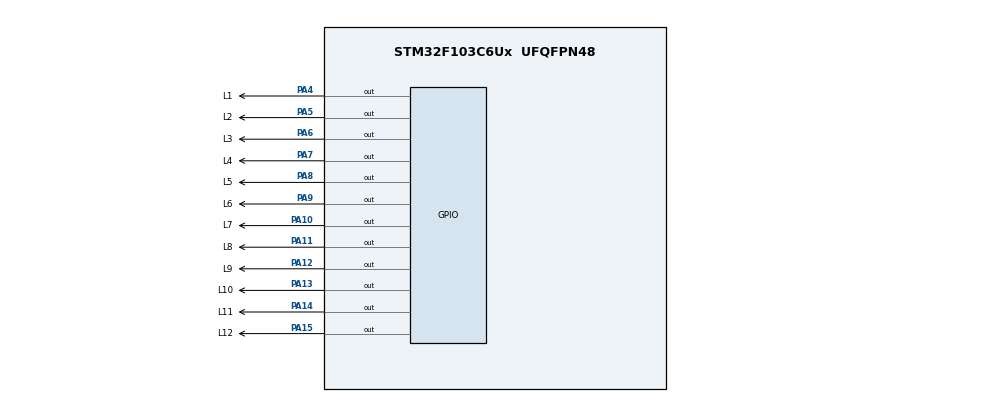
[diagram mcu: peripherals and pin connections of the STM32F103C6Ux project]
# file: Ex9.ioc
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Mcu.Family=STM32F1
Mcu.Name=STM32F103C6Ux
Mcu.Package=UFQFPN48
NVIC.PriorityGroup=NVIC_PRIORITYGROUP_4
PA10.GPIO_Label=L7
PA10.Signal=GPIO_Output
PA11.GPIO_Label=L8
PA11.Signal=GPIO_Output
PA12.GPIO_Label=L9
PA12.Signal=GPIO_Output
PA13.GPIO_Label=L10
PA13.Signal=GPIO_Output
PA14.GPIO_Label=L11
PA14.Signal=GPIO_Output
PA15.GPIO_Label=L12
PA15.Signal=GPIO_Output
PA4.GPIO_Label=L1
PA4.Signal=GPIO_Output
PA5.GPIO_Label=L2
PA5.Signal=GPIO_Output
PA6.GPIO_Label=L3
PA6.Signal=GPIO_Output
PA7.GPIO_Label=L4
PA7.Signal=GPIO_Output
PA8.GPIO_Label=L5
PA8.Signal=GPIO_Output
PA9.GPIO_Label=L6
PA9.Signal=GPIO_Output
ProjectManager.HeapSize=0x200
ProjectManager.StackSize=0x400
ProjectManager.TargetToolchain=STM32CubeIDE
RCC.APB1Freq_Value=8000000
RCC.APB2Freq_Value=8000000
board=custom

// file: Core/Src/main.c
/* USER CODE BEGIN Header */
/**
  ******************************************************************************
  * @file           : main.c
  * @brief          : Main program body
  ******************************************************************************
  * @attention
  *
  * Copyright (c) 2024 STMicroelectronics.
  * All rights reserved.
  *
  * This software is licensed under terms that can be found in the LICENSE file
  * in the root directory of this software component.
  * If no LICENSE file comes with this software, it is provided AS-IS.
  *
  ******************************************************************************
  */
/* USER CODE END Header */
#include "main.h"

void SystemClock_Config(void);
static void MX_GPIO_Init(void);
void clearAllClock() ;
void setNumberOnBlock(int num);
void clearNumberOnBlock(int num);

int main(void)
{

  /* MCU Configuration--------------------------------------------------------*/

  /* Reset of all peripherals, Initializes the Flash interface and the Systick. */
  HAL_Init();

  /* Configure the system clock */
  SystemClock_Config();

  /* Initialize all configured peripherals */
  MX_GPIO_Init();

  /* Infinite loop */
  /* USER CODE BEGIN WHILE */
  clearAllClock();
  setNumberOnBlock(1);
  setNumberOnBlock(2);
  setNumberOnBlock(3);
  setNumberOnBlock(4);
  setNumberOnBlock(5);
  setNumberOnBlock(6);
  setNumberOnBlock(7);
  setNumberOnBlock(8);
  setNumberOnBlock(9);
  setNumberOnBlock(10);
  setNumberOnBlock(11);
  setNumberOnBlock(12);
  clearNumberOnBlock(1);
  clearNumberOnBlock(2);
  clearNumberOnBlock(3);
  clearNumberOnBlock(4);
  clearNumberOnBlock(5);
  clearNumberOnBlock(6);
  clearNumberOnBlock(7);
  clearNumberOnBlock(8);
  clearNumberOnBlock(9);
  clearNumberOnBlock(10);
  clearNumberOnBlock(11);
  clearNumberOnBlock(12);
  HAL_Delay(1000);
  while (1)
  {
    /* USER CODE END WHILE */
	  HAL_GPIO_TogglePin(L1_GPIO_Port, L1_Pin);
	  HAL_Delay(1000);
	  HAL_GPIO_TogglePin(L2_GPIO_Port, L2_Pin);
	  HAL_Delay(1000);
	  HAL_GPIO_TogglePin(L3_GPIO_Port, L3_Pin);
	  HAL_Delay(1000);
	  HAL_GPIO_TogglePin(L4_GPIO_Port, L4_Pin);
	  HAL_Delay(1000);
	  HAL_GPIO_TogglePin(L5_GPIO_Port, L5_Pin);
	  HAL_Delay(1000);
	  HAL_GPIO_TogglePin(L6_GPIO_Port, L6_Pin);
	  HAL_Delay(1000);
	  HAL_GPIO_TogglePin(L7_GPIO_Port, L7_Pin);
	  HAL_Delay(1000);
	  HAL_GPIO_TogglePin(L8_GPIO_Port, L8_Pin);
	  HAL_Delay(1000);
	  HAL_GPIO_TogglePin(L9_GPIO_Port, L9_Pin);
	  HAL_Delay(1000);
	  HAL_GPIO_TogglePin(L10_GPIO_Port, L10_Pin);
	  HAL_Delay(1000);
	  HAL_GPIO_TogglePin(L11_GPIO_Port, L11_Pin);
	  HAL_Delay(1000);
	  HAL_GPIO_TogglePin(L12_GPIO_Port, L12_Pin);
	  HAL_Delay(1000);
  }
}
void clearAllClock()
{
    HAL_GPIO_WritePin(L1_GPIO_Port, L1_Pin, GPIO_PIN_SET);
    HAL_GPIO_WritePin(L2_GPIO_Port, L2_Pin, GPIO_PIN_SET);
    HAL_GPIO_WritePin(L3_GPIO_Port, L3_Pin, GPIO_PIN_SET);
    HAL_GPIO_WritePin(L4_GPIO_Port, L4_Pin, GPIO_PIN_SET);
    HAL_GPIO_WritePin(L5_GPIO_Port, L5_Pin, GPIO_PIN_SET);
    HAL_GPIO_WritePin(L6_GPIO_Port, L6_Pin, GPIO_PIN_SET);
    HAL_GPIO_WritePin(L7_GPIO_Port, L7_Pin, GPIO_PIN_SET);
    HAL_GPIO_WritePin(L8_GPIO_Port, L8_Pin, GPIO_PIN_SET);
    HAL_GPIO_WritePin(L9_GPIO_Port, L9_Pin, GPIO_PIN_SET);
    HAL_GPIO_WritePin(L10_GPIO_Port, L10_Pin, GPIO_PIN_SET);
    HAL_GPIO_WritePin(L11_GPIO_Port, L11_Pin, GPIO_PIN_SET);
    HAL_GPIO_WritePin(L12_GPIO_Port, L12_Pin, GPIO_PIN_SET);
}

void setNumberOnBlock(int num)
{
    switch (num)
    {
        case 1:
            HAL_GPIO_WritePin(L1_GPIO_Port, L1_Pin, GPIO_PIN_RESET);
            break;
        case 2:
            HAL_GPIO_WritePin(L2_GPIO_Port, L2_Pin, GPIO_PIN_RESET);
            break;
        case 3:
            HAL_GPIO_WritePin(L3_GPIO_Port, L3_Pin, GPIO_PIN_RESET);
            break;
        case 4:
            HAL_GPIO_WritePin(L4_GPIO_Port, L4_Pin, GPIO_PIN_RESET);
            break;
        case 5:
            HAL_GPIO_WritePin(L5_GPIO_Port, L5_Pin, GPIO_PIN_RESET);
            break;
        case 6:
            HAL_GPIO_WritePin(L6_GPIO_Port, L6_Pin, GPIO_PIN_RESET);
            break;
        case 7:
            HAL_GPIO_WritePin(L7_GPIO_Port, L7_Pin, GPIO_PIN_RESET);
            break;
        case 8:
            HAL_GPIO_WritePin(L8_GPIO_Port, L8_Pin, GPIO_PIN_RESET);
            break;
        case 9:
            HAL_GPIO_WritePin(L9_GPIO_Port, L9_Pin, GPIO_PIN_RESET);
            break;
        case 10:
            HAL_GPIO_WritePin(L10_GPIO_Port, L10_Pin, GPIO_PIN_RESET);
            break;
        case 11:
            HAL_GPIO_WritePin(L11_GPIO_Port, L11_Pin, GPIO_PIN_RESET);
            break;
        default:
            HAL_GPIO_WritePin(L12_GPIO_Port, L12_Pin, GPIO_PIN_RESET);
            break;
    }
}

void clearNumberOnBlock(int num)
{
    switch (num)
    {
        case 1:
            HAL_GPIO_WritePin(L1_GPIO_Port, L1_Pin, GPIO_PIN_SET);
            break;
        case 2:
            HAL_GPIO_WritePin(L2_GPIO_Port, L2_Pin, GPIO_PIN_SET);
            break;
        case 3:
            HAL_GPIO_WritePin(L3_GPIO_Port, L3_Pin, GPIO_PIN_SET);
            break;
        case 4:
            HAL_GPIO_WritePin(L4_GPIO_Port, L4_Pin, GPIO_PIN_SET);
            break;
        case 5:
            HAL_GPIO_WritePin(L5_GPIO_Port, L5_Pin, GPIO_PIN_SET);
            break;
        case 6:
            HAL_GPIO_WritePin(L6_GPIO_Port, L6_Pin, GPIO_PIN_SET);
            break;
        case 7:
            HAL_GPIO_WritePin(L7_GPIO_Port, L7_Pin, GPIO_PIN_SET);
            break;
        case 8:
            HAL_GPIO_WritePin(L8_GPIO_Port, L8_Pin, GPIO_PIN_SET);
            break;
        case 9:
            HAL_GPIO_WritePin(L9_GPIO_Port, L9_Pin, GPIO_PIN_SET);
            break;
        case 10:
            HAL_GPIO_WritePin(L10_GPIO_Port, L10_Pin, GPIO_PIN_SET);
            break;
        case 11:
            HAL_GPIO_WritePin(L11_GPIO_Port, L11_Pin, GPIO_PIN_SET);
            break;
        default:
            HAL_GPIO_WritePin(L12_GPIO_Port, L12_Pin, GPIO_PIN_SET);
            break;
    }
}
void SystemClock_Config(void)
{
  RCC_OscInitTypeDef RCC_OscInitStruct = {0};
  RCC_ClkInitTypeDef RCC_ClkInitStruct = {0};

  /** Initializes the RCC Oscillators according to the specified parameters
  * in the RCC_OscInitTypeDef structure.
  */
  RCC_OscInitStruct.OscillatorType = RCC_OSCILLATORTYPE_HSI;
  RCC_OscInitStruct.HSIState = RCC_HSI_ON;
  RCC_OscInitStruct.HSICalibrationValue = RCC_HSICALIBRATION_DEFAULT;
  RCC_OscInitStruct.PLL.PLLState = RCC_PLL_NONE;
  if (HAL_RCC_OscConfig(&RCC_OscInitStruct) != HAL_OK)
  {
    Error_Handler();
  }

  /** Initializes the CPU, AHB and APB buses clocks
  */
  RCC_ClkInitStruct.ClockType = RCC_CLOCKTYPE_HCLK|RCC_CLOCKTYPE_SYSCLK
                              |RCC_CLOCKTYPE_PCLK1|RCC_CLOCKTYPE_PCLK2;
  RCC_ClkInitStruct.SYSCLKSource = RCC_SYSCLKSOURCE_HSI;
  RCC_ClkInitStruct.AHBCLKDivider = RCC_SYSCLK_DIV1;
  RCC_ClkInitStruct.APB1CLKDivider = RCC_HCLK_DIV1;
  RCC_ClkInitStruct.APB2CLKDivider = RCC_HCLK_DIV1;

  if (HAL_RCC_ClockConfig(&RCC_ClkInitStruct, FLASH_LATENCY_0) != HAL_OK)
  {
    Error_Handler();
  }
}

static void MX_GPIO_Init(void)
{
  GPIO_InitTypeDef GPIO_InitStruct = {0};

  /* GPIO Ports Clock Enable */
  __HAL_RCC_GPIOA_CLK_ENABLE();

  /*Configure GPIO pin Output Level */
  HAL_GPIO_WritePin(GPIOA, L1_Pin|L2_Pin|L3_Pin|L4_Pin
                          |L5_Pin|L6_Pin|L7_Pin|L8_Pin
                          |L9_Pin|L10_Pin|L11_Pin|L12_Pin, GPIO_PIN_RESET);

  /*Configure GPIO pins : L1_Pin L2_Pin L3_Pin L4_Pin
                           L5_Pin L6_Pin L7_Pin L8_Pin
                           L9_Pin L10_Pin L11_Pin L12_Pin */
  GPIO_InitStruct.Pin = L1_Pin|L2_Pin|L3_Pin|L4_Pin
                          |L5_Pin|L6_Pin|L7_Pin|L8_Pin
                          |L9_Pin|L10_Pin|L11_Pin|L12_Pin;
  GPIO_InitStruct.Mode = GPIO_MODE_OUTPUT_PP;
  GPIO_InitStruct.Pull = GPIO_NOPULL;
  GPIO_InitStruct.Speed = GPIO_SPEED_FREQ_LOW;
  HAL_GPIO_Init(GPIOA, &GPIO_InitStruct);

}

void Error_Handler(void)
{
  __disable_irq();
  while (1)
  {
  }
}
